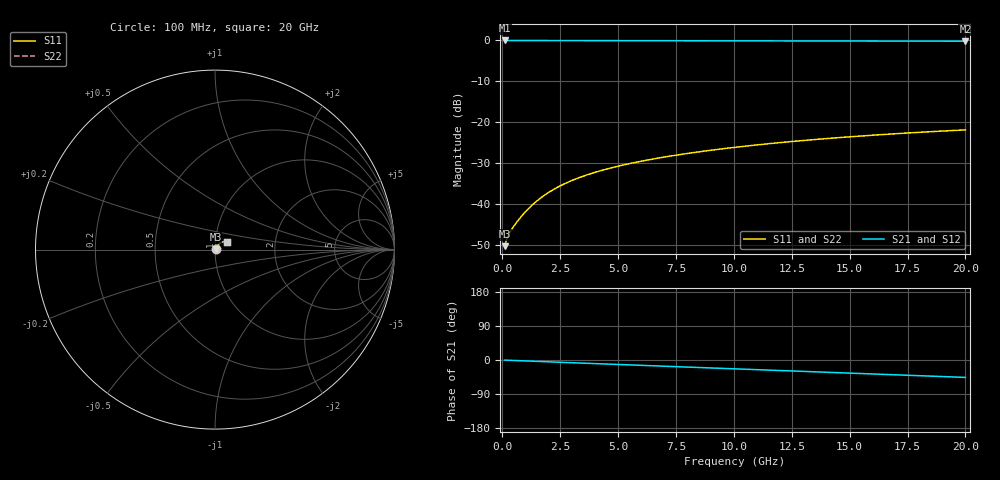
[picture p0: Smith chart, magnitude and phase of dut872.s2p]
! Touchstone file exported from HFSS 2026.1.0
!  File:  C:/ffzhzh/LocalFiles/Ansys_Project_Files/temp_train_BSMRDL_872_1783170915_55132.aedt
!  Generated:  09:16:27 PM Jul  4, 2026
!  Design:  BSMRDL
!  Project:  temp_train_BSMRDL_872_1783170915_55132
! Variables:
!  h_bsmrdl = 5.79um
!  h_ox = 20um
!  h_rdl = 5um
!  h_sub = 80um
!  h_tmrdl = 5um
!  h_tsv = 80um
!  h_via = 3um
!  l_bsmrdl = 827.93um
!  l_sub = 1227.93um
!  l_tmrdl = 200um
!  m_sub = 200um
!  pitch = 27.01um
!  r_tsv = 6um
!  s_tmrdl = 10um
!  w_bsmrdl = 19.9um
!  w_sub = 500um
!  w_tmrdl = 12um
!  x_tsv_center1 = 206um
!  x_tsv_center2 = 1053.83um
!  x_tsv_center3 = 1265.83um
!  x_tsv_center4 = 2113.66um
!  x_tsv_center5 = 2325.66um
!  x_tsv_center6 = 3173.49um
# GHz S MA R 50.000000
! Terminal data exported
! Port[1] = BSM_RDL1_1_T1
! Port[2] = BSM_RDL1_1_T2
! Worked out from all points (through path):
!   200 points, 100 MHz to 20 GHz, reference 50 ohm
!   highest |S21| = -0.02 dB at 100 MHz (marker M1); lowest = -0.2 dB at 20 GHz (marker M2)
!   group delay of S21, straight-line fit = 6.35 ps
!   lowest |S11| = -50.3 dB at 100 MHz (marker M3), VSWR 1.01, Z = 50.3 + j0.114 ohm
!   |S11| at or under -10 dB: start of sweep to end of sweep
!   |S22| runs from -50.3 to -21.9 dB; largest |S21 - S12| = 1.6e-14
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0.1  0.003039 21.8  0.9972 -0.3  0.9972 -0.3  0.003039 21.8
! Gamma 0 0 0 0
! Port Impedance 50 0 50 0
0.2  0.003745 31.2  0.9968 -0.5  0.9968 -0.5  0.003745 31.2
0.3  0.004338 36.1  0.9965 -0.8  0.9965 -0.8  0.004337 36.1
0.5  0.005352 43.7  0.9962 -1.2  0.9962 -1.2  0.00535 43.7
0.7  0.006373 49.5  0.996 -1.7  0.996 -1.7  0.006372 49.5
0.9  0.007455 53.7  0.9958 -2.2  0.9958 -2.2  0.007454 53.8
1.3  0.009735 58.8  0.9954 -3.2  0.9954 -3.2  0.009734 58.9
1.5  0.0109 60.3  0.9952 -3.6  0.9952 -3.6  0.0109 60.3
1.8  0.01264 61.6  0.9948 -4.4  0.9948 -4.4  0.01264 61.6
2.3  0.01549 62.4  0.9941 -5.5  0.9941 -5.5  0.01548 62.4
2.9  0.01875 62.2  0.9932 -7.0  0.9932 -7.0  0.01875 62.3
3.5  0.02184 61.5  0.9923 -8.4  0.9923 -8.4  0.02183 61.6
4.2  0.02524 60.4  0.9912 -10.0  0.9912 -10.0  0.02523 60.5
4.9  0.02846 59.3  0.9903 -11.6  0.9903 -11.6  0.02845 59.4
5.8  0.0324 57.8  0.9892 -13.7  0.9892 -13.7  0.03238 57.9
6.8  0.03658 56.0  0.988 -16.0  0.988 -16.0  0.03655 56.2
8.3  0.04255 53.5  0.9865 -19.4  0.9865 -19.4  0.04252 53.6
10.1  0.04937 50.3  0.9848 -23.5  0.9848 -23.5  0.04932 50.5
11.7  0.05513 47.3  0.9835 -27.1  0.9835 -27.1  0.05506 47.6
13.4  0.06094 44.1  0.9821 -31.0  0.9821 -31.0  0.06086 44.4
16.7  0.07129 37.7  0.9796 -38.5  0.9796 -38.5  0.07117 38.0
20  0.08033 31.0  0.9773 -45.9  0.9773 -45.9  0.08018 31.5
